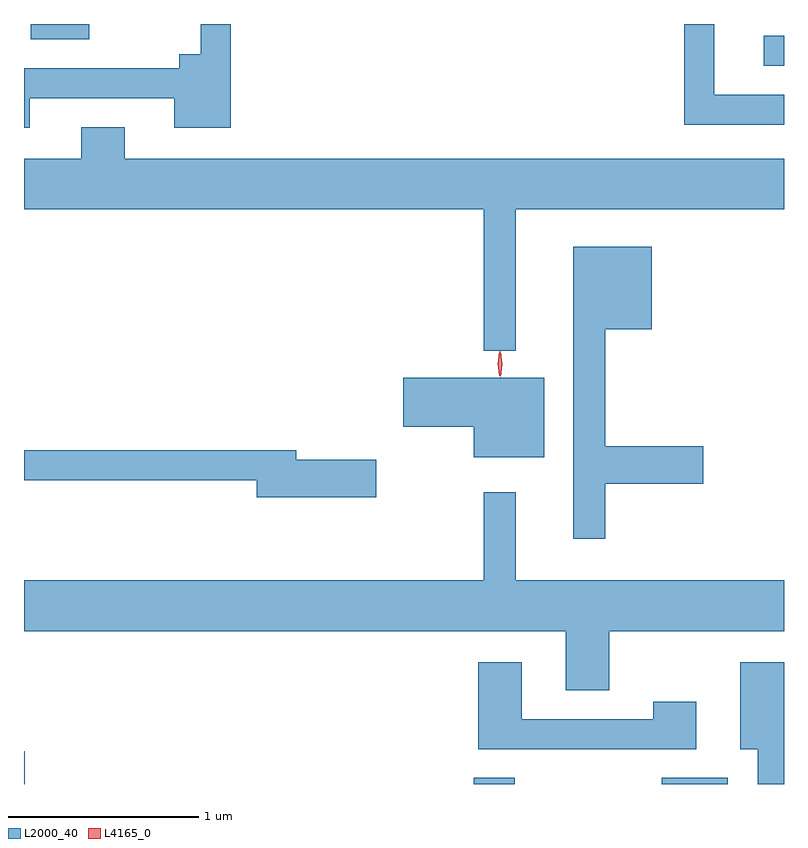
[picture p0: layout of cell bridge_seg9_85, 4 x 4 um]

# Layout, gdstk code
import gdstk
lib = gdstk.Library(unit=1e-6, precision=1e-09)
def R(c, l, rs):  # rectangles x0, y0, x1, y1
    for r in rs: c.add(gdstk.rectangle(r[:2], r[2:], *l))
def P(c, l, *ps):  # polygons
    for p in ps: c.add(gdstk.Polygon(p, *l))
L2000_40 = (2000, 40)
L4165_0 = (4165, 0)

bridge_seg9_85 = lib.new_cell('bridge_seg9_85')
R(bridge_seg9_85, L2000_40, [(1702.55,1991.012,1702.554,1991.184), (1704.916,1991.012,1705.134,1991.044), (1705.906,1991.012,1706.254,1991.044), (1706.443,1994.791,1706.55,1994.949), (1702.586,1994.931,1702.894,1995.012)])
P(bridge_seg9_85, L2000_40, [(1702.579,1994.621),(1703.341,1994.621),(1703.341,1994.466),(1703.639,1994.466),(1703.639,1995.012),(1703.481,1995.012),(1703.481,1994.854),(1703.366,1994.854),(1703.366,1994.779),(1702.55,1994.779),(1702.55,1994.466),(1702.579,1994.466)],
  [(1706.55,1994.639),(1706.184,1994.639),(1706.184,1995.012),(1706.026,1995.012),(1706.026,1994.481),(1706.55,1994.481)],
  [(1705.139,1994.036),(1706.55,1994.036),(1706.55,1994.304),(1703.079,1994.304),(1703.079,1994.469),(1702.851,1994.469),(1702.851,1994.304),(1702.55,1994.304),(1702.55,1994.036),(1704.971,1994.036),(1704.971,1993.293),(1705.139,1993.293)],
  [(1705.609,1992.591),(1706.124,1992.591),(1706.124,1992.789),(1705.609,1992.789),(1705.609,1993.406),(1705.854,1993.406),(1705.854,1993.839),(1705.441,1993.839),(1705.441,1992.303),(1705.609,1992.303)],
  [(1705.289,1993.149),(1704.546,1993.149),(1704.546,1992.891),(1704.916,1992.891),(1704.916,1992.731),(1705.289,1992.731)],
  [(1704.404,1992.719),(1703.984,1992.719),(1703.984,1992.769),(1702.55,1992.769),(1702.55,1992.611),(1703.776,1992.611),(1703.776,1992.521),(1704.404,1992.521)],
  [(1705.629,1991.816),(1706.55,1991.816),(1706.55,1992.084),(1705.139,1992.084),(1705.139,1992.548),(1704.971,1992.548),(1704.971,1992.084),(1702.55,1992.084),(1702.55,1991.816),(1705.401,1991.816),(1705.401,1991.506),(1705.629,1991.506)],
  [(1706.55,1991.654),(1706.321,1991.654),(1706.321,1991.196),(1706.411,1991.196),(1706.411,1991.012),(1706.55,1991.012)],
  [(1706.089,1991.444),(1705.861,1991.444),(1705.861,1991.354),(1705.169,1991.354),(1705.169,1991.654),(1704.941,1991.654),(1704.941,1991.196),(1706.089,1991.196)])
P(bridge_seg9_85, L4165_0, [(1705.058,1993.154),(1705.049,1993.222),(1705.058,1993.29),(1705.058,1993.29),(1705.059,1993.29),(1705.068,1993.222),(1705.059,1993.154),(1705.059,1993.154)],
  [(1705.052,1993.16),(1705.043,1993.223),(1705.052,1993.286),(1705.053,1993.287),(1705.053,1993.286),(1705.063,1993.223),(1705.053,1993.16),(1705.053,1993.16)])

lib.write_gds('bridge_seg9_85.gds')
